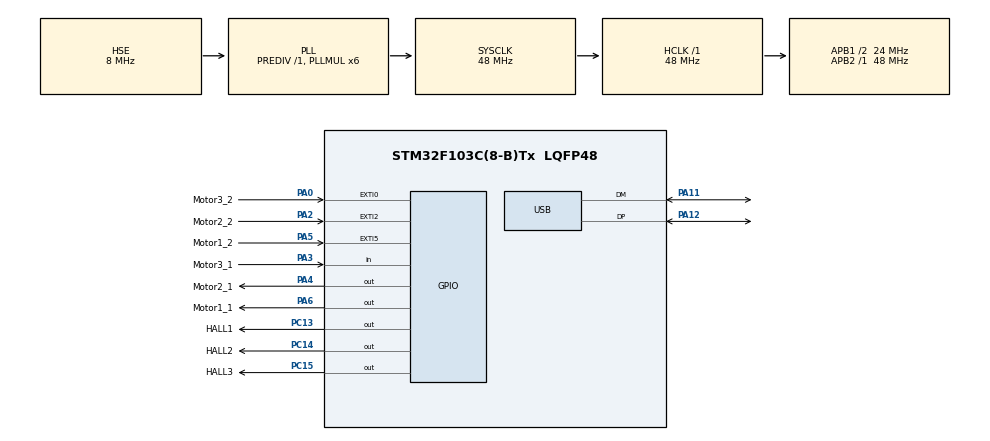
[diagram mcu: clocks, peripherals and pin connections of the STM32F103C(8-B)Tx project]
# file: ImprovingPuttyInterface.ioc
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Mcu.Family=STM32F1
Mcu.Name=STM32F103C(8-B)Tx
Mcu.Package=LQFP48
NVIC.EXTI0_IRQn=true\:0\:0\:false\:false\:true\:true
NVIC.EXTI2_IRQn=true\:0\:0\:false\:false\:true\:true
NVIC.EXTI9_5_IRQn=true\:0\:0\:false\:false\:true\:true
NVIC.PriorityGroup=NVIC_PRIORITYGROUP_4
NVIC.USB_LP_CAN1_RX0_IRQn=true\:0\:0\:false\:false\:true\:true
PA0-WKUP.GPIO_Label=Motor3_2
PA0-WKUP.GPIO_ModeDefaultEXTI=GPIO_MODE_IT_RISING_FALLING
PA0-WKUP.Signal=GPXTI0
PA11.Mode=Device
PA11.Signal=USB_DM
PA12.Mode=Device
PA12.Signal=USB_DP
PA13.Mode=Serial_Wire
PA13.Signal=SYS_JTMS-SWDIO
PA14.Mode=Serial_Wire
PA14.Signal=SYS_JTCK-SWCLK
PA2.GPIO_Label=Motor2_2
PA2.GPIO_ModeDefaultEXTI=GPIO_MODE_IT_RISING_FALLING
PA2.Signal=GPXTI2
PA3.GPIO_Label=Motor3_1
PA3.Signal=GPIO_Input
PA4.GPIO_Label=Motor2_1
PA4.Signal=GPIO_Output
PA5.GPIO_Label=Motor1_2
PA5.GPIO_ModeDefaultEXTI=GPIO_MODE_IT_RISING_FALLING
PA5.Signal=GPXTI5
PA6.GPIO_Label=Motor1_1
PA6.Signal=GPIO_Output
PC13-TAMPER-RTC.GPIO_Label=HALL1
PC13-TAMPER-RTC.Signal=GPIO_Output
PC14-OSC32_IN.GPIO_Label=HALL2
PC14-OSC32_IN.Signal=GPIO_Output
PC15-OSC32_OUT.GPIO_Label=HALL3
PC15-OSC32_OUT.Signal=GPIO_Output
PD0-OSC_IN.Mode=HSE-External-Oscillator
PD0-OSC_IN.Signal=RCC_OSC_IN
PD1-OSC_OUT.Mode=HSE-External-Oscillator
PD1-OSC_OUT.Signal=RCC_OSC_OUT
ProjectManager.HeapSize=0x200
ProjectManager.StackSize=0x400
ProjectManager.TargetToolchain=SW4STM32
RCC.AHBFreq_Value=48000000
RCC.APB1CLKDivider=RCC_HCLK_DIV2
RCC.APB1Freq_Value=24000000
RCC.APB1TimFreq_Value=48000000
RCC.APB2Freq_Value=48000000
RCC.APB2TimFreq_Value=48000000
RCC.HCLKFreq_Value=48000000
RCC.PLLMUL=RCC_PLL_MUL6
RCC.SYSCLKFreq_VALUE=48000000
RCC.SYSCLKSource=RCC_SYSCLKSOURCE_PLLCLK
RCC.USBFreq_Value=48000000
USB.ep0_mps=DEP0CTL_MPS_32
USB_DEVICE.CLASS_NAME_FS=CDC
USB_DEVICE.VirtualMode=Cdc
USB_DEVICE.VirtualModeFS=Cdc_FS
VP_USB_DEVICE_VS_USB_DEVICE_CDC_FS.Mode=CDC_FS
board=ImprovingPuttyInterface

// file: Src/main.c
/**
  ******************************************************************************
  * File Name          : main.c
  * Description        : Main program body
  ******************************************************************************
  * This notice applies to any and all portions of this file
  * that are not between comment pairs USER CODE BEGIN and
  * USER CODE END. Other portions of this file, whether
  * inserted by the user or by software development tools
  * are owned by their respective copyright owners.
  *
  * Copyright (c) 2018 STMicroelectronics International N.V.
  * All rights reserved.
  *
  * Redistribution and use in source and binary forms, with or without
  * modification, are permitted, provided that the following conditions are met:
  *
  * 1. Redistribution of source code must retain the above copyright notice,
  *    this list of conditions and the following disclaimer.
  * 2. Redistributions in binary form must reproduce the above copyright notice,
  *    this list of conditions and the following disclaimer in the documentation
  *    and/or other materials provided with the distribution.
  * 3. Neither the name of STMicroelectronics nor the names of other
  *    contributors to this software may be used to endorse or promote products
  *    derived from this software without specific written permission.
  * 4. This software, including modifications and/or derivative works of this
  *    software, must execute solely and exclusively on microcontroller or
  *    microprocessor devices manufactured by or for STMicroelectronics.
  * 5. Redistribution and use of this software other than as permitted under
  *    this license is void and will automatically terminate your rights under
  *    this license.
  *
  * THIS SOFTWARE IS PROVIDED BY STMICROELECTRONICS AND CONTRIBUTORS "AS IS"
  * AND ANY EXPRESS, IMPLIED OR STATUTORY WARRANTIES, INCLUDING, BUT NOT
  * LIMITED TO, THE IMPLIED WARRANTIES OF MERCHANTABILITY, FITNESS FOR A
  * PARTICULAR PURPOSE AND NON-INFRINGEMENT OF THIRD PARTY INTELLECTUAL PROPERTY
  * RIGHTS ARE DISCLAIMED TO THE FULLEST EXTENT PERMITTED BY LAW. IN NO EVENT
  * SHALL STMICROELECTRONICS OR CONTRIBUTORS BE LIABLE FOR ANY DIRECT, INDIRECT,
  * INCIDENTAL, SPECIAL, EXEMPLARY, OR CONSEQUENTIAL DAMAGES (INCLUDING, BUT NOT
  * LIMITED TO, PROCUREMENT OF SUBSTITUTE GOODS OR SERVICES; LOSS OF USE, DATA,
  * OR PROFITS; OR BUSINESS INTERRUPTION) HOWEVER CAUSED AND ON ANY THEORY OF
  * LIABILITY, WHETHER IN CONTRACT, STRICT LIABILITY, OR TORT (INCLUDING
  * NEGLIGENCE OR OTHERWISE) ARISING IN ANY WAY OUT OF THE USE OF THIS SOFTWARE,
  * EVEN IF ADVISED OF THE POSSIBILITY OF SUCH DAMAGE.
  *
  ******************************************************************************
  */
#include "main.h"
#include "stm32f1xx_hal.h"
#include "usb_device.h"
#include "gpio.h"

/* USER CODE BEGIN Includes */
//!!include this file see all //!! for explanation
#include "PuttyInterface/PuttyInterface.h"

/* USER CODE END Includes */

/* USER CODE BEGIN PV */
/* Private variables ---------------------------------------------------------*/
//!!declare this struct
PuttyInterfaceTypeDef puttystruct;

int HALL_1 = 0;
int HALL_2 = 0;
int HALL_3 = 0;

int pa0=0,pa2=0,pa5=0;
int hall1=0,hall2=0,hall3=0;
/* USER CODE END PV */

void SystemClock_Config(void);

/* USER CODE BEGIN PFP */
/* Private function prototypes -----------------------------------------------*/
//!! create similar function protype
void HandleCommand(char* input);
/* USER CODE END PFP */

/* USER CODE BEGIN 0 */
void HAL_GPIO_EXTI_Callback(uint16_t GPIO_Pin){
	if(GPIO_Pin == Motor3_2_Pin){
		pa0=1;
	}
	if(GPIO_Pin == Motor2_2_Pin){
		pa2=1;
	}
	if(GPIO_Pin == Motor1_2_Pin){
		pa5=1;
	}
}

void set_hallValue(int hall1,int hall2,int  hall3){
	HAL_GPIO_WritePin(GPIOC,GPIO_PIN_13,hall1);
	HAL_GPIO_WritePin(GPIOC,GPIO_PIN_14,hall2);
	HAL_GPIO_WritePin(GPIOC,GPIO_PIN_15,hall3);
}
/* USER CODE END 0 */

int main(void)
{

  /* MCU Configuration----------------------------------------------------------*/

  /* Reset of all peripherals, Initializes the Flash interface and the Systick. */
  HAL_Init();

  /* Configure the system clock */
  SystemClock_Config();

  /* Initialize all configured peripherals */
  MX_GPIO_Init();
  MX_USB_DEVICE_Init();

  /* USER CODE BEGIN 2 */
  //!! assign function pointer and init
  puttystruct.handle = HandleCommand;
  PuttyInterface_Init(&puttystruct);
  /* USER CODE END 2 */

  /* Infinite loop */
  /* USER CODE BEGIN WHILE */
  while (1)
  {
	  set_hallValue(hall1,hall2,hall3);
	  PuttyInterface_Update(&puttystruct);
	  uprintf("hall: %d %d %d \n\r",hall1,hall2,hall3);
	  uprintf("gpio :%d %d %d \n\r",
			  HAL_GPIO_ReadPin(GPIOA,GPIO_PIN_3),
			  HAL_GPIO_ReadPin(GPIOA,GPIO_PIN_4),
			  HAL_GPIO_ReadPin(GPIOA,GPIO_PIN_6));
	  uprintf("pwm  :%d %d %d\n\r",pa0,pa2,pa5);
	 int pa3=HAL_GPIO_ReadPin(GPIOA,GPIO_PIN_3);
	 int pa4=HAL_GPIO_ReadPin(GPIOA,GPIO_PIN_4);
	 int pa6=HAL_GPIO_ReadPin(GPIOA,GPIO_PIN_6);
//	 if(pa3==1 && pa4==0 &&pa6==1){uprintf("state1 correct\n\r");}
//	 if(pa3==0 && pa4==0 &&pa6==1){uprintf("state2 correct\n\r");}
//	 if(pa3==0 && pa4==1 &&pa6==1){uprintf("state3 correct\n\r");}
//	 if(pa3==0 && pa4==1 &&pa6==0){uprintf("state4 correct\n\r");}
//	 if(pa3==1 && pa4==1 &&pa6==0){uprintf("state5 correct\n\r");}
//	 if(pa3==1 && pa4==0 &&pa6==0){uprintf("state6 correct\n\r");}
//	 if(pa3==0 && pa4==0 &&pa6==0){uprintf("state are all zero\n\r");}
	 	 if(pa3==1 && pa4==0 &&pa6==0  &&pa0==1){uprintf("state1 correct\n\r");}
		 if(pa3==0 && pa4==0 &&pa6==1 &&  pa0==1){uprintf("state2 correct\n\r");}
		 if(pa3==0 && pa4==0 &&pa6==1 && pa2==1){uprintf("state3 correct\n\r");}
		 if(pa3==0 && pa4==1 &&pa6==0 && pa2==1){uprintf("state4 correct\n\r");}
		 if(pa3==0 && pa4==1 &&pa6==0 && pa5==1){uprintf("state5 correct\n\r");}
		 if(pa3==1 && pa4==0 &&pa6==0 && pa5==1){uprintf("state6 correct\n\r");}
		 if(pa3==0 && pa4==0 &&pa6==0 ){uprintf("state are all zero\n\r");}

	  pa0=0;pa2=0;pa5=0;
	  HAL_Delay(400);
//	  PuttyInterface_Update(&puttystruct);
//	  uprintf("%d %d %d \n\r%d %d %d \n\r \n\r%d %d %d \n\r\n\r\n\r\n\r",
//		 HAL_GPIO_ReadPin(Motor1_1_GPIO_Port, Motor1_1_Pin),
//		 HAL_GPIO_ReadPin(Motor2_1_GPIO_Port, Motor2_1_Pin),
//		 HAL_GPIO_ReadPin(Motor3_1_GPIO_Port, Motor3_1_Pin),
//		 HAL_GPIO_ReadPin(Motor1_2_GPIO_Port, Motor1_2_Pin),
//		 HAL_GPIO_ReadPin(Motor2_2_GPIO_Port, Motor2_2_Pin),
//		 HAL_GPIO_ReadPin(Motor3_2_GPIO_Port, Motor3_2_Pin),
//		 HALL_1, HALL_2, HALL_3);
//	  HAL_Delay(400);
  }
  /* USER CODE END WHILE */

  /* USER CODE BEGIN 3 */
	  //!!run the update function for everything that needs to be done outside interrupts

  /* USER CODE END 3 */

}

/** System Clock Configuration
*/
void SystemClock_Config(void)
{

  RCC_OscInitTypeDef RCC_OscInitStruct;
  RCC_ClkInitTypeDef RCC_ClkInitStruct;
  RCC_PeriphCLKInitTypeDef PeriphClkInit;

    /**Initializes the CPU, AHB and APB busses clocks
    */
  RCC_OscInitStruct.OscillatorType = RCC_OSCILLATORTYPE_HSE;
  RCC_OscInitStruct.HSEState = RCC_HSE_ON;
  RCC_OscInitStruct.HSEPredivValue = RCC_HSE_PREDIV_DIV1;
  RCC_OscInitStruct.HSIState = RCC_HSI_ON;
  RCC_OscInitStruct.PLL.PLLState = RCC_PLL_ON;
  RCC_OscInitStruct.PLL.PLLSource = RCC_PLLSOURCE_HSE;
  RCC_OscInitStruct.PLL.PLLMUL = RCC_PLL_MUL6;
  if (HAL_RCC_OscConfig(&RCC_OscInitStruct) != HAL_OK)
  {
    _Error_Handler(__FILE__, __LINE__);
  }

    /**Initializes the CPU, AHB and APB busses clocks
    */
  RCC_ClkInitStruct.ClockType = RCC_CLOCKTYPE_HCLK|RCC_CLOCKTYPE_SYSCLK
                              |RCC_CLOCKTYPE_PCLK1|RCC_CLOCKTYPE_PCLK2;
  RCC_ClkInitStruct.SYSCLKSource = RCC_SYSCLKSOURCE_PLLCLK;
  RCC_ClkInitStruct.AHBCLKDivider = RCC_SYSCLK_DIV1;
  RCC_ClkInitStruct.APB1CLKDivider = RCC_HCLK_DIV2;
  RCC_ClkInitStruct.APB2CLKDivider = RCC_HCLK_DIV1;

  if (HAL_RCC_ClockConfig(&RCC_ClkInitStruct, FLASH_LATENCY_1) != HAL_OK)
  {
    _Error_Handler(__FILE__, __LINE__);
  }

  PeriphClkInit.PeriphClockSelection = RCC_PERIPHCLK_USB;
  PeriphClkInit.UsbClockSelection = RCC_USBCLKSOURCE_PLL;
  if (HAL_RCCEx_PeriphCLKConfig(&PeriphClkInit) != HAL_OK)
  {
    _Error_Handler(__FILE__, __LINE__);
  }

    /**Configure the Systick interrupt time
    */
  HAL_SYSTICK_Config(HAL_RCC_GetHCLKFreq()/1000);

    /**Configure the Systick
    */
  HAL_SYSTICK_CLKSourceConfig(SYSTICK_CLKSOURCE_HCLK);

  /* SysTick_IRQn interrupt configuration */
  HAL_NVIC_SetPriority(SysTick_IRQn, 0, 0);
}

/* USER CODE BEGIN 4 */

//!!this function will receive the commands when the are complete strcmp(input, "command") will return zero if "command" is equal to input
void HandleCommand(char* input){
	if(!strcmp(input, "start")){
		uprintf("started;>)\n\r");
	}else if(!strcmp(input, "stop")){
		uprintf("stopped\n\r");
	}else if(!strcmp(input, "1")){
		hall1=1;hall2=0;hall3=1;
	}else if(!strcmp(input, "2")){
		hall1=0;hall2=0;hall3=1;
	}else if(!strcmp(input, "3")){
		hall1=0;hall2=1;hall3=1;
	}else if(!strcmp(input, "4")){
		hall1=0;hall2=1;hall3=0;
	}else if(!strcmp(input, "5")){
		hall1=1;hall2=1;hall3=0;
	}else if(!strcmp(input, "6")){
		hall1=1;hall2=0;hall3=0;
	}
//	if(!strcmp(input,"00")){
//		hall1=0;hall2=0;hall3=1;
//		HAL_Delay(1000);
//		hall1=0;hall2=0;hall3=1;
//		HAL_Delay(1000);
//		hall1=0;hall2=1;hall3=1;
//		HAL_Delay(1000);
//		hall1=0;hall2=1;hall3=0;
//		HAL_Delay(1000);
//		hall1=1;hall2=1;hall3=0;
//		HAL_Delay(1000);
//		hall1=1;hall2=0;hall3=0;
//		HAL_Delay(1000);
//	}else if(!strcmp(input, "stop")){
//		uprintf("stopped\n\r");
//	}
}
//!! function gets called from usbd_cdc_if but needs to be added there in both c and h file
void USB_RxCallBack(uint8_t* Buf, uint32_t Len){
	puttystruct.huart2_Rx_len = Len;
	memcpy(puttystruct.small_buf, Buf, Len);
}
/* USER CODE END 4 */

void _Error_Handler(char * file, int line)
{
  while(1)
  {
  }
}

/************************ (C) COPYRIGHT STMicroelectronics *****END OF FILE****/
